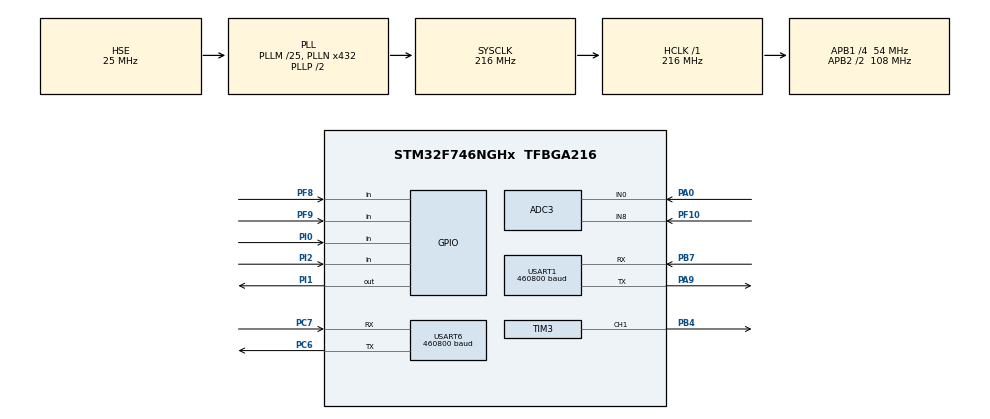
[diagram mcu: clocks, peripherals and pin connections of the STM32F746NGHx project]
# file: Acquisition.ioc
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ADC3.Channel-0\#ChannelRegularConversion=ADC_CHANNEL_8
ADC3.Channel-1\#ChannelRegularConversion=ADC_CHANNEL_0
ADC3.DMAContinuousRequests=ENABLE
ADC3.ExternalTrigConv=ADC_EXTERNALTRIGCONV_T2_TRGO
ADC3.NbrOfConversion=2
ADC3.NbrOfConversionFlag=1
ADC3.Rank-0\#ChannelRegularConversion=1
ADC3.Rank-1\#ChannelRegularConversion=2
ADC3.SamplingTime-0\#ChannelRegularConversion=ADC_SAMPLETIME_3CYCLES
ADC3.SamplingTime-1\#ChannelRegularConversion=ADC_SAMPLETIME_15CYCLES
ADC3.ScanConvMode=ADC_SCAN_ENABLE
Dma.ADC3.0.Direction=DMA_PERIPH_TO_MEMORY
Dma.ADC3.0.FIFOMode=DMA_FIFOMODE_DISABLE
Dma.ADC3.0.Instance=DMA2_Stream0
Dma.ADC3.0.MemDataAlignment=DMA_MDATAALIGN_HALFWORD
Dma.ADC3.0.MemInc=DMA_MINC_ENABLE
Dma.ADC3.0.Mode=DMA_CIRCULAR
Dma.ADC3.0.PeriphDataAlignment=DMA_PDATAALIGN_HALFWORD
Dma.ADC3.0.PeriphInc=DMA_PINC_DISABLE
Dma.ADC3.0.Priority=DMA_PRIORITY_LOW
Dma.Request0=ADC3
Dma.Request1=USART1_TX
Dma.Request2=USART6_TX
Dma.USART1_TX.1.Direction=DMA_MEMORY_TO_PERIPH
Dma.USART1_TX.1.FIFOMode=DMA_FIFOMODE_DISABLE
Dma.USART1_TX.1.Instance=DMA2_Stream7
Dma.USART1_TX.1.MemDataAlignment=DMA_MDATAALIGN_BYTE
Dma.USART1_TX.1.MemInc=DMA_MINC_ENABLE
Dma.USART1_TX.1.Mode=DMA_NORMAL
Dma.USART1_TX.1.PeriphDataAlignment=DMA_PDATAALIGN_BYTE
Dma.USART1_TX.1.PeriphInc=DMA_PINC_DISABLE
Dma.USART1_TX.1.Priority=DMA_PRIORITY_LOW
Dma.USART6_TX.2.Direction=DMA_MEMORY_TO_PERIPH
Dma.USART6_TX.2.FIFOMode=DMA_FIFOMODE_DISABLE
Dma.USART6_TX.2.Instance=DMA2_Stream6
Dma.USART6_TX.2.MemDataAlignment=DMA_MDATAALIGN_BYTE
Dma.USART6_TX.2.MemInc=DMA_MINC_ENABLE
Dma.USART6_TX.2.Mode=DMA_NORMAL
Dma.USART6_TX.2.PeriphDataAlignment=DMA_PDATAALIGN_BYTE
Dma.USART6_TX.2.PeriphInc=DMA_PINC_DISABLE
Dma.USART6_TX.2.Priority=DMA_PRIORITY_LOW
Mcu.Family=STM32F7
Mcu.Name=STM32F746NGHx
Mcu.Package=TFBGA216
NVIC.ADC_IRQn=true\:2\:0\:false\:false\:true\:true\:true
NVIC.DMA2_Stream0_IRQn=true\:2\:0\:false\:false\:true\:false\:true
NVIC.DMA2_Stream6_IRQn=true\:2\:0\:false\:false\:true\:false\:true
NVIC.DMA2_Stream7_IRQn=true\:2\:0\:false\:false\:true\:false\:true
NVIC.PriorityGroup=NVIC_PRIORITYGROUP_4
NVIC.TIM2_IRQn=true\:0\:0\:false\:false\:true\:true\:true
NVIC.USART1_IRQn=true\:1\:0\:false\:false\:true\:true\:true
NVIC.USART6_IRQn=true\:1\:0\:false\:false\:true\:true\:true
PA0/WKUP.Signal=ADCx_IN0
PA13.Mode=Serial_Wire
PA13.Signal=SYS_JTMS-SWDIO
PA14.Mode=Serial_Wire
PA14.Signal=SYS_JTCK-SWCLK
PA9.Mode=Asynchronous
PA9.Signal=USART1_TX
PB4.Signal=S_TIM3_CH1
PB7.Mode=Asynchronous
PB7.Signal=USART1_RX
PC6.Mode=Asynchronous
PC6.Signal=USART6_TX
PC7.Mode=Asynchronous
PC7.Signal=USART6_RX
PF10.Mode=IN8
PF10.Signal=ADC3_IN8
PF8.GPIO_PuPd=GPIO_PULLDOWN
PF8.Signal=GPIO_Input
PF9.Signal=GPIO_Input
PH0/OSC_IN.Mode=HSE-External-Oscillator
PH0/OSC_IN.Signal=RCC_OSC_IN
PH1/OSC_OUT.Mode=HSE-External-Oscillator
PH1/OSC_OUT.Signal=RCC_OSC_OUT
PI0.Signal=GPIO_Input
PI1.Signal=GPIO_Output
PI2.GPIO_PuPd=GPIO_NOPULL
PI2.Signal=GPIO_Input
ProjectManager.HeapSize=0x200
ProjectManager.StackSize=0x1000
ProjectManager.TargetToolchain=MDK-ARM V5.27
RCC.AHBFreq_Value=216000000
RCC.APB1CLKDivider=RCC_HCLK_DIV4
RCC.APB1Freq_Value=54000000
RCC.APB1TimFreq_Value=108000000
RCC.APB2CLKDivider=RCC_HCLK_DIV2
RCC.APB2Freq_Value=108000000
RCC.APB2TimFreq_Value=216000000
RCC.CortexFreq_Value=216000000
RCC.HCLKFreq_Value=216000000
RCC.HSE_VALUE=25000000
RCC.HSI_VALUE=16000000
RCC.LSE_VALUE=32768
RCC.PLLM=25
RCC.PLLN=432
RCC.PLLSourceVirtual=RCC_PLLSOURCE_HSE
RCC.SYSCLKFreq_VALUE=216000000
RCC.SYSCLKSource=RCC_SYSCLKSOURCE_PLLCLK
RCC.USBFreq_Value=216000000
RCC.VCOOutputFreq_Value=432000000
SH.ADCx_IN0.0=ADC3_IN0,IN0
SH.S_TIM3_CH1.0=TIM3_CH1,PWM Generation1 CH1
TIM2.AutoReloadPreload=TIM_AUTORELOAD_PRELOAD_DISABLE
TIM2.Period=1000-1
TIM2.Prescaler=108-1
TIM2.TIM_MasterOutputTrigger=TIM_TRGO_UPDATE
TIM3.Channel-PWM\ Generation1\ CH1=TIM_CHANNEL_1
TIM3.Period=999
TIM3.Prescaler=107
TIM3.Pulse-PWM\ Generation1\ CH1=500
USART1.BaudRate=460800
USART1.VirtualMode-Asynchronous=VM_ASYNC
USART6.BaudRate=460800
USART6.VirtualMode-Asynchronous=VM_ASYNC
VP_TIM2_VS_ClockSourceINT.Mode=Internal
VP_TIM3_VS_ClockSourceINT.Mode=Internal
board=custom

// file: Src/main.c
/* USER CODE BEGIN Header */

// 远程数据采集系统 - 采集板主程序

/* USER CODE END Header */

#include "main.h"
#include "adc.h"
#include "dma.h"
#include "tim.h"
#include "usart.h"
#include "gpio.h"

/* USER CODE BEGIN Includes */

#include "bsp_acquisition.h"
#include "bsp_protocol.h"
#include "bsp_generator.h"
#include <stdio.h>

/* USER CODE END Includes */

/* USER CODE BEGIN PV */
// 波形结果放在静态区，避免占用过多栈空间
static AcqFrame_t frame;

/* USER CODE END PV */

void SystemClock_Config(void);

/* USER CODE BEGIN 0 */
// TIM2 控制采样节拍，ADC DMA 回调更新历史数据，串口中断保存命令字节
// 主循环负责执行命令、查找触发点和发送波形
// 串口空闲且有新波形时发送，NORMAL 和 SINGLE 未触发时继续等待
static void App_SendFrame(void)
{
    // 保存上次文本输出的时刻，不能在每次调用时重新清零
    static uint32_t last_text_tick;
    ProtocolMode_t mode = Protocol_GetMode();

    if (Protocol_IsBusy() || !Acquisition_IsRunning()) return;
    // 文本每 100 ms 最多发送一次，其余时间继续处理命令
    if (mode == PROTOCOL_MODE_TEXT && HAL_GetTick() - last_text_tick < 100) return;
    if (!Acquisition_IsFrameReady()) return; // 没有新数据时直接回到主循环
    if (!Acquisition_GetFrame(&frame)) return; // 数据复制失败或未满足触发条件时不发送

    if (mode == PROTOCOL_MODE_BINARY) {
        Protocol_SendBinaryFrame(frame.timebase, frame.points);
    } else {
        // 文本和二进制使用同一份取帧结果，只是发送格式不同
        Protocol_PrintDebugText(frame.timebase, frame.ch1_voltage, frame.ch2_voltage,
                                frame.ch2_vpp, frame.digital, Acquisition_GetOvrErrorCount());
    }
    last_text_tick = HAL_GetTick();
    HAL_GPIO_TogglePin(GPIOI, GPIO_PIN_1); // 每发出一帧翻转一次，用来观察输出活动
}

/* USER CODE END 0 */

int main(void)
{

  /* MCU Configuration--------------------------------------------------------*/

  /* Reset of all peripherals, Initializes the Flash interface and the Systick. */
  HAL_Init();

  /* Configure the system clock */
  SystemClock_Config();

  /* Initialize all configured peripherals */
  MX_GPIO_Init();
  // DMA 必须先初始化，后面的 ADC 和串口初始化会用到它
  MX_DMA_Init();
  MX_ADC3_Init();
  MX_USART1_UART_Init();
  MX_TIM2_Init();
  MX_TIM3_Init();
  MX_USART6_UART_Init();
  /* USER CODE BEGIN 2 */

  // 开启串口接收和采样
  Protocol_Init();
  // 先开启串口接收，后面采样启动后就可以响应控制命令
  Acquisition_Init();

  // 启动默认测试方波
  Generator_Init();

  // 打印启动信息
  printf("\r\n[Acquisition Board Init OK]\r\n");
  printf("Firmware: WAVE500-TRIGFIX, type=02, points=500, UART=460800\r\n");
  printf("CH1: Pot (PF10), CH2: Mic (PA0)\r\n");
  printf("DIG: PI0, PF8, PI2\r\n");
  printf("PWM Generator: %u Hz (PB4)\r\n", (unsigned int)Generator_GetFrequency());
  printf("Timebase: %s\r\n\r\n", Acquisition_GetTimebaseName(Acquisition_GetTimebase()));

  /* USER CODE END 2 */

  /* Infinite loop */
  /* USER CODE BEGIN WHILE */

  while (1)
  {
      // 先处理命令，再决定要不要发送，暂停和等待触发时也能响应操作
      Protocol_ProcessRx();
      App_SendFrame();
    /* USER CODE END WHILE */

  }
}

void SystemClock_Config(void)
{
  RCC_OscInitTypeDef RCC_OscInitStruct = {0};
  RCC_ClkInitTypeDef RCC_ClkInitStruct = {0};
  RCC_PeriphCLKInitTypeDef PeriphClkInitStruct = {0};

  /** Configure the main internal regulator output voltage
  */
  __HAL_RCC_PWR_CLK_ENABLE();
  __HAL_PWR_VOLTAGESCALING_CONFIG(PWR_REGULATOR_VOLTAGE_SCALE1);
  /** Initializes the CPU, AHB and APB busses clocks
  */
  RCC_OscInitStruct.OscillatorType = RCC_OSCILLATORTYPE_HSE;
  RCC_OscInitStruct.HSEState = RCC_HSE_ON;
  RCC_OscInitStruct.PLL.PLLState = RCC_PLL_ON;
  RCC_OscInitStruct.PLL.PLLSource = RCC_PLLSOURCE_HSE;
  RCC_OscInitStruct.PLL.PLLM = 25;
  RCC_OscInitStruct.PLL.PLLN = 432;
  RCC_OscInitStruct.PLL.PLLP = RCC_PLLP_DIV2;
  RCC_OscInitStruct.PLL.PLLQ = 2;
  if (HAL_RCC_OscConfig(&RCC_OscInitStruct) != HAL_OK)
  {
    Error_Handler();
  }
  /** Activate the Over-Drive mode
  */
  if (HAL_PWREx_EnableOverDrive() != HAL_OK)
  {
    Error_Handler();
  }
  /** Initializes the CPU, AHB and APB busses clocks
  */
  RCC_ClkInitStruct.ClockType = RCC_CLOCKTYPE_HCLK|RCC_CLOCKTYPE_SYSCLK
                              |RCC_CLOCKTYPE_PCLK1|RCC_CLOCKTYPE_PCLK2;
  RCC_ClkInitStruct.SYSCLKSource = RCC_SYSCLKSOURCE_PLLCLK;
  RCC_ClkInitStruct.AHBCLKDivider = RCC_SYSCLK_DIV1;
  RCC_ClkInitStruct.APB1CLKDivider = RCC_HCLK_DIV4;
  RCC_ClkInitStruct.APB2CLKDivider = RCC_HCLK_DIV2;

  if (HAL_RCC_ClockConfig(&RCC_ClkInitStruct, FLASH_LATENCY_7) != HAL_OK)
  {
    Error_Handler();
  }
  PeriphClkInitStruct.PeriphClockSelection = RCC_PERIPHCLK_USART1|RCC_PERIPHCLK_USART6;
  PeriphClkInitStruct.Usart1ClockSelection = RCC_USART1CLKSOURCE_PCLK2;
  PeriphClkInitStruct.Usart6ClockSelection = RCC_USART6CLKSOURCE_PCLK2;
  if (HAL_RCCEx_PeriphCLKConfig(&PeriphClkInitStruct) != HAL_OK)
  {
    Error_Handler();
  }
}

void Error_Handler(void)
{
  /* USER CODE BEGIN Error_Handler_Debug */

  printf("\r\n*** [CRITICAL ERROR] Error_Handler() triggered! ***\r\n");

  while (1)

  {

      HAL_GPIO_TogglePin(GPIOI, GPIO_PIN_1);

      for (volatile int i = 0; i < 500000; i++);

  }

  /* USER CODE END Error_Handler_Debug */
}

/************************ (C) COPYRIGHT STMicroelectronics *****END OF FILE****/
